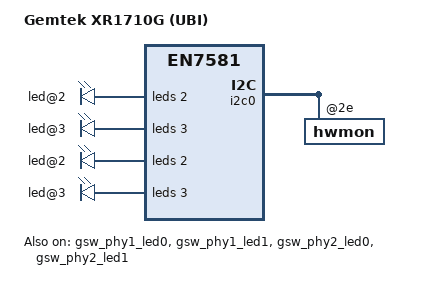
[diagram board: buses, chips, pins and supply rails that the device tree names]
// SPDX-License-Identifier: GPL-2.0-or-later OR MIT

/dts-v1/;

#include "an7581-gemtek-common.dtsi"

/ {
	model = "Gemtek XR1710G (UBI)";
	compatible = "gemtek,xr1710g-ubi", "airoha,an7581", "airoha,en7581";

	aliases {
		label-mac-device = &gdm2;
	};
};

&en7581_pinctrl {
	/* The lan3/lan4 LEDs are driven by the internal switch PHYs */
	gswp1_led0_pins: gswp1-led0-pins {
		mux {
			function = "phy1_led0";
			pins = "gpio33";
		};
	};

	gswp1_led1_pins: gswp1-led1-pins {
		mux {
			function = "phy1_led1";
			pins = "gpio43";
		};
	};

	gswp2_led0_pins: gswp2-led0-pins {
		mux {
			function = "phy2_led0";
			pins = "gpio34";
		};
	};

	gswp2_led1_pins: gswp2-led1-pins {
		mux {
			function = "phy2_led1";
			pins = "gpio44";
		};
	};
};

&i2c0 {
	hwmon@2e {
		#address-cells = <1>;
		#size-cells = <0>;

		/* RTD2 has no external thermal diode wired on XR1710G (reads 127.875 C open). */
		channel@2 {
			reg = <2>;
			sensor-type = "temperature";
			temperature-mode = "thermal-diode";
			status = "disabled";
		};
	};
};

&gdm1 {
	openwrt,netdev-name = "cpu";
};

&phy5 {
	/* Vendor bootloader leaves SDS page 6 reg 3 at 0x88c6 on XR1710G. */
	realtek,sds-mode = <0x88c6>;
	/* Re-apply RTK SerDes tuning after copper AN so USXGMII PCS locks. */
	realtek,patch-rtk-serdes;

	leds {
		#address-cells = <1>;
		#size-cells = <0>;

		led@2 {
			reg = <2>;
			color = <LED_COLOR_ID_YELLOW>;
			function = LED_FUNCTION_LAN;
			function-enumerator = <2>;
		};

		led@3 {
			reg = <3>;
			color = <LED_COLOR_ID_GREEN>;
			function = LED_FUNCTION_LAN;
			function-enumerator = <2>;
		};
	};
};

&phy8 {
	/* Re-apply RTK SerDes tuning after copper AN so USXGMII PCS locks. */
	realtek,patch-rtk-serdes;

	leds {
		#address-cells = <1>;
		#size-cells = <0>;

		led@2 {
			reg = <2>;
			color = <LED_COLOR_ID_YELLOW>;
			function = LED_FUNCTION_WAN;
		};

		led@3 {
			reg = <3>;
			color = <LED_COLOR_ID_GREEN>;
			function = LED_FUNCTION_WAN;
		};
	};
};

&gsw_phy1 {
	pinctrl-names = "gbe-led";
	pinctrl-0 = <&gswp1_led0_pins>, <&gswp1_led1_pins>;
};

&gsw_phy1_led0 {
	status = "okay";
	color = <LED_COLOR_ID_GREEN>;
	function = LED_FUNCTION_LAN;
	function-enumerator = <3>;
	active-low;
};

&gsw_phy1_led1 {
	status = "okay";
	color = <LED_COLOR_ID_AMBER>;
	function = LED_FUNCTION_LAN;
	function-enumerator = <3>;
	active-low;
};

&gsw_phy2 {
	pinctrl-names = "gbe-led";
	pinctrl-0 = <&gswp2_led0_pins>, <&gswp2_led1_pins>;
};

&gsw_phy2_led0 {
	status = "okay";
	color = <LED_COLOR_ID_GREEN>;
	function = LED_FUNCTION_LAN;
	function-enumerator = <4>;
	active-low;
};

&gsw_phy2_led1 {
	status = "okay";
	color = <LED_COLOR_ID_AMBER>;
	function = LED_FUNCTION_LAN;
	function-enumerator = <4>;
	active-low;
};
